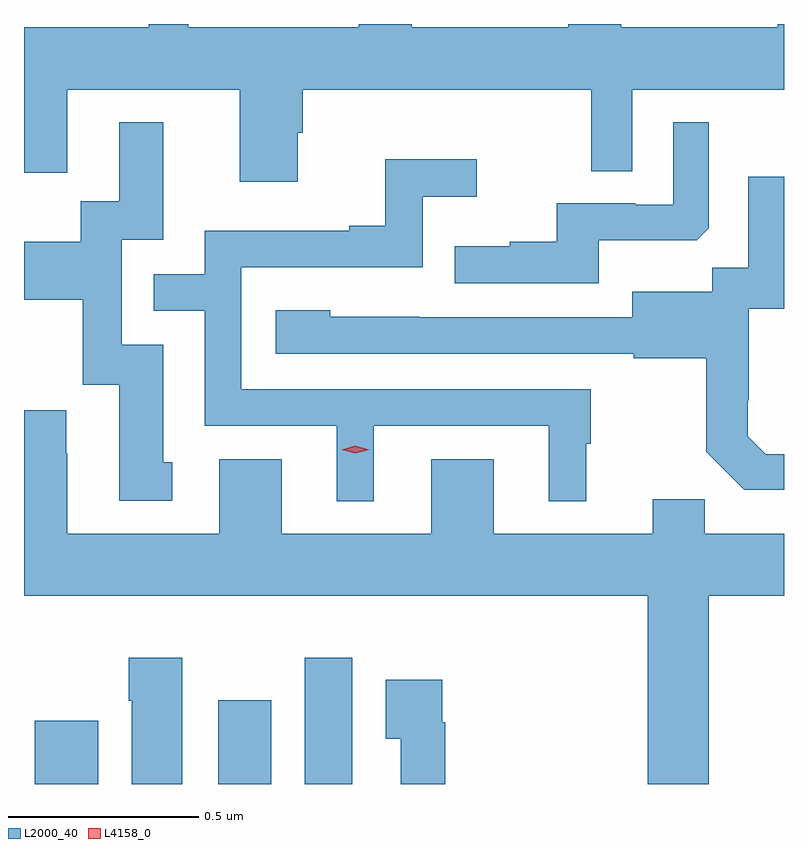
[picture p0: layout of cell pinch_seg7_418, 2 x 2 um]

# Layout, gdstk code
import gdstk
lib = gdstk.Library(unit=1e-6, precision=1e-09)
def R(c, l, rs):  # rectangles x0, y0, x1, y1
    for r in rs: c.add(gdstk.rectangle(r[:2], r[2:], *l))
def P(c, l, *ps):  # polygons
    for p in ps: c.add(gdstk.Polygon(p, *l))
L2000_40 = (2000, 40)
L4158_0 = (4158, 0)

pinch_seg7_418 = lib.new_cell('pinch_seg7_418')
R(pinch_seg7_418, L2000_40, [(526.733,1017.437,526.9,1017.604), (527.216,1017.437,527.356,1017.658), (527.444,1017.437,527.569,1017.769)])
P(pinch_seg7_418, L2000_40, [(527.137,1019.437),(527.033,1019.437),(527.033,1019.428),(526.705,1019.428),(526.705,1019.046),(526.819,1019.046),(526.819,1019.264),(527.273,1019.264),(527.273,1019.022),(527.425,1019.022),(527.425,1019.151),(527.438,1019.151),(527.438,1019.264),(528.198,1019.264),(528.198,1019.05),(528.306,1019.05),(528.306,1019.264),(528.705,1019.264),(528.705,1019.437),(528.689,1019.437),(528.689,1019.428),(528.277,1019.428),(528.277,1019.437),(528.137,1019.437),(528.137,1019.428),(527.725,1019.428),(527.725,1019.437),(527.586,1019.437),(527.586,1019.428),(527.137,1019.428)],
  [(527.095,1018.284),(527.071,1018.284),(527.071,1018.593),(526.962,1018.593),(526.962,1018.869),(527.071,1018.869),(527.071,1019.179),(526.955,1019.179),(526.955,1018.97),(526.854,1018.97),(526.854,1018.864),(526.705,1018.864),(526.705,1018.712),(526.859,1018.712),(526.859,1018.488),(526.955,1018.488),(526.955,1018.182),(527.095,1018.182)],
  [(528.217,1018.868),(528.475,1018.868),(528.507,1018.899),(528.507,1019.179),(528.414,1019.179),(528.414,1018.962),(528.314,1018.962),(528.314,1018.965),(528.107,1018.965),(528.107,1018.864),(527.983,1018.864),(527.983,1018.852),(527.839,1018.852),(527.839,1018.755),(528.217,1018.755)],
  [(527.626,1018.38),(528.086,1018.38),(528.086,1018.181),(528.184,1018.181),(528.184,1018.332),(528.196,1018.332),(528.196,1018.476),(527.277,1018.476),(527.277,1018.797),(527.754,1018.797),(527.754,1018.982),(527.896,1018.982),(527.896,1019.081),(527.656,1019.081),(527.656,1018.906),(527.561,1018.906),(527.561,1018.893),(527.181,1018.893),(527.181,1018.779),(527.047,1018.779),(527.047,1018.683),(527.181,1018.683),(527.181,1018.38),(527.528,1018.38),(527.528,1018.181),(527.626,1018.181)],
  [(528.705,1018.305),(528.657,1018.305),(528.61,1018.352),(528.61,1018.447),(528.612,1018.447),(528.612,1018.688),(528.705,1018.688),(528.705,1019.035),(528.611,1019.035),(528.611,1018.796),(528.516,1018.796),(528.516,1018.732),(528.305,1018.732),(528.305,1018.665),(527.747,1018.665),(527.747,1018.666),(527.511,1018.666),(527.511,1018.684),(527.367,1018.684),(527.367,1018.569),(528.309,1018.569),(528.309,1018.557),(528.501,1018.557),(528.501,1018.311),(528.601,1018.211),(528.705,1018.211)],
  [(528.507,1017.932),(528.705,1017.932),(528.705,1018.096),(528.497,1018.096),(528.497,1018.187),(528.359,1018.187),(528.359,1018.096),(527.941,1018.096),(527.941,1018.291),(527.777,1018.291),(527.777,1018.096),(527.383,1018.096),(527.383,1018.291),(527.219,1018.291),(527.219,1018.096),(526.819,1018.096),(526.819,1018.307),(526.816,1018.307),(526.816,1018.42),(526.705,1018.42),(526.705,1017.932),(528.347,1017.932),(528.347,1017.437),(528.507,1017.437)],
  [(527.122,1017.769),(526.981,1017.769),(526.981,1017.656),(526.988,1017.656),(526.988,1017.437),(527.122,1017.437)],
  [(527.813,1017.599),(527.806,1017.599),(527.806,1017.712),(527.657,1017.712),(527.657,1017.556),(527.697,1017.556),(527.697,1017.437),(527.813,1017.437)])
P(pinch_seg7_418, L4158_0, [(527.577,1018.307),(527.541,1018.316),(527.541,1018.317),(527.541,1018.317),(527.577,1018.327),(527.613,1018.317),(527.613,1018.317),(527.613,1018.316)])

lib.write_gds('pinch_seg7_418.gds')
